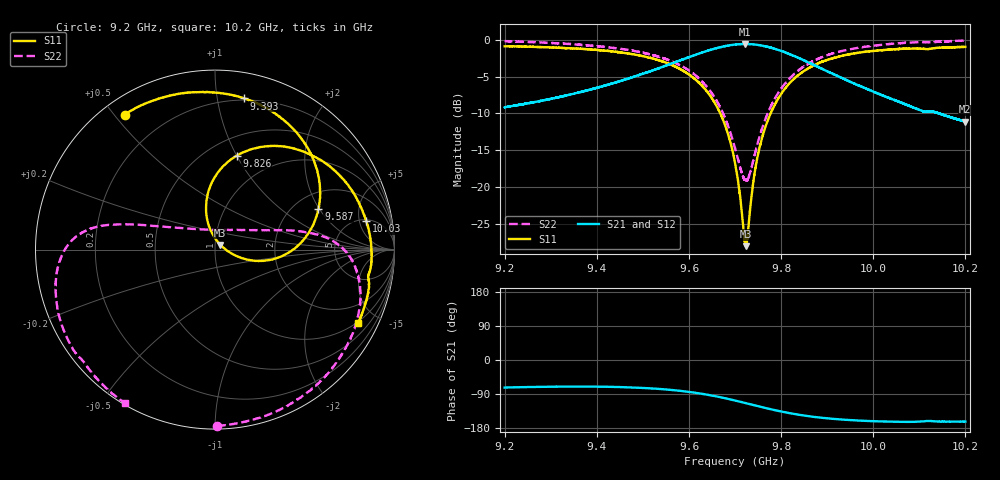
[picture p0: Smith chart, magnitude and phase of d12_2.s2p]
!Agilent Technologies,N5242A,MY51221714,A.09.90.19
!Agilent N5242A: A.09.90.19
!Date: Saturday, March 16, 2024 08:46:01
!Correction: S11(Full 2 Port(1,2))
!S21(Full 2 Port(1,2))
!S12(Full 2 Port(1,2))
!S22(Full 2 Port(1,2))
!S2P File: Measurements: S11, S21, S12, S22:
# Hz S  dB  R 50
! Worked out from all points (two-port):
!   16001 points, 9.2 GHz to 10.2 GHz, reference 50 ohm
!   highest |S21| = -0.55 dB at 9.722 GHz (marker M1); lowest = -11.1 dB at 10.2 GHz (marker M2)
!   |S21| within 3 dB of the highest: 9.547 GHz to 9.876 GHz (328.2 MHz wide, 3.38 % of centre)
!   lowest |S11| = -28.1 dB at 9.723 GHz (marker M3), VSWR 1.08, Z = 52.9 + j2.81 ohm
!   |S11| at or under -10 dB: 9.668 GHz to 9.777 GHz (109.2 MHz wide, 1.12 % of centre)
!   |S22| runs from -19.2 to -0.1 dB; largest |S21 - S12| = 0.0094
!   S11 on the Smith chart (normalised r, x): 9.2 GHz: 0.06, +0.53; 9.393 GHz: 0.19, +1.19; 9.587 GHz: 2.68, +1.95; 9.826 GHz: 0.68, +1.00; 10.03 GHz: 5.34, +6.33; 10.2 GHz: 0.94, -3.91
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9.2e9  -0.87 123.8  -9.17 -72.7  -9.17 -73.1  -0.15 -89.2
9.27775e9  -0.97 106.5  -8.31 -70.9  -8.31 -71.3  -0.35 -67.4
9.366688e9  -1.22 85.7  -7.08 -70.1  -7.06 -70.5  -0.68 -43.6
9.393438e9  -1.33 79.0  -6.63 -70.2  -6.62 -70.6  -0.81 -36.5
9.46125e9  -1.78 61.1  -5.40 -71.8  -5.40 -72.2  -1.30 -20.2
9.533375e9  -2.74 39.7  -3.88 -76.1  -3.88 -76.5  -2.26 -4.9
9.586812e9  -4.18 21.3  -2.65 -82.2  -2.65 -82.6  -3.65 4.3
9.658375e9  -8.81 -6.5  -1.15 -95.8  -1.15 -96.1  -8.09 16.0
9.7e9  -16.68 -17.4  -0.63 -106.9  -0.62 -107.4  -14.74 36.3
9.721688e9  -27.59 28.7  -0.55 -113.4  -0.55 -113.8  -19.12 82.6
9.723312e9  -28.07 42.1  -0.57 -113.9  -0.55 -114.3  -19.18 87.6
9.744312e9  -17.44 104.4  -0.64 -120.2  -0.63 -120.7  -15.22 138.1
9.761062e9  -12.82 102.4  -0.80 -125.1  -0.81 -125.6  -11.63 151.9
9.789e9  -8.49 92.5  -1.26 -133.0  -1.26 -133.4  -7.72 160.7
9.825938e9  -5.41 77.1  -2.13 -141.9  -2.13 -142.2  -4.78 166.0
9.866688e9  -3.60 61.0  -3.28 -149.5  -3.27 -149.9  -2.98 170.8
9.950375e9  -1.93 32.8  -5.70 -158.7  -5.71 -159.1  -1.26 -176.2
1.003094e10  -1.34 10.6  -7.83 -162.5  -7.82 -162.9  -0.58 -160.1
1.003338e10  -1.33 10.1  -7.88 -162.4  -7.88 -162.9  -0.57 -159.6
1.010556e10  -1.19 -7.5  -9.67 -162.3  -9.65 -162.7  -0.29 -143.7
1.019944e10  -0.96 -27.1  -11.12 -162.3  -11.10 -162.9  -0.09 -120.5
1.02e10  -0.95 -27.3  -11.11 -162.4  -11.11 -162.8  -0.08 -120.3
